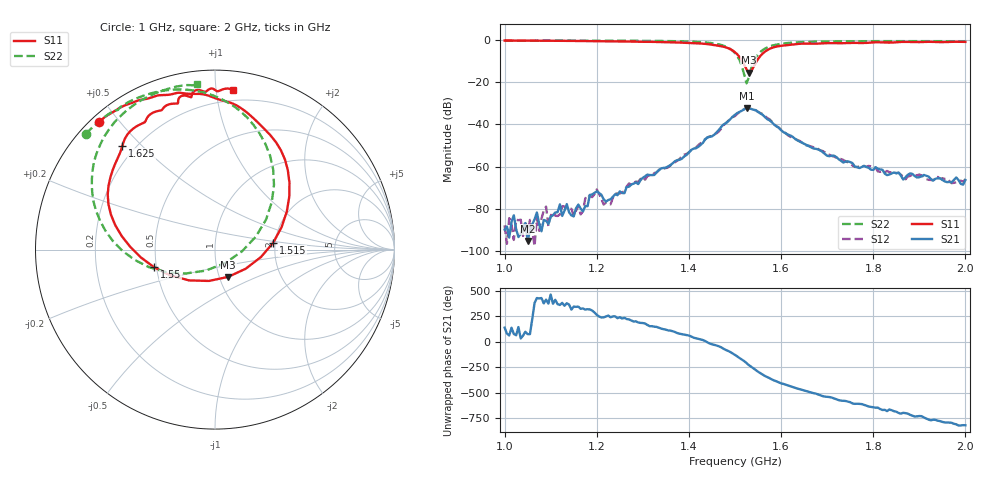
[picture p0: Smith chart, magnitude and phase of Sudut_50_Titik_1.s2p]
# Hz S RI R 50
! CMT, C1220, 16058040, 17.2.0/1
! Date: 14/08/2018 12:54:14
! Data: Format (Calibration Info)
! Freq  S11: Re/Im (F2)  S21: Re/Im (F2)  S12: Re/Im (F2)  S22: Re/Im (F2)
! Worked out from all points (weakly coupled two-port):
!   201 points, 1 GHz to 2 GHz, reference 50 ohm
!   highest |S21| = -32.21 dB at 1.525 GHz (marker M1); lowest = -95.1 dB at 1.05 GHz (marker M2)
!   lowest |S11| = -15.5 dB at 1.53 GHz (marker M3), VSWR 1.41, Z = 55.1 - j17.2 ohm
!   |S11| at or under -10 dB: 1.516 GHz to 1.547 GHz (31.74 MHz wide, 2.07 % of centre)
!   |S22| runs from -20.6 to -0.3 dB; largest |S21 - S12| = 0.0011
!   S11 on the Smith chart (normalised r, x): 1 GHz: 0.02, +0.44; 1.515 GHz: 1.95, +0.16; 1.55 GHz: 0.49, -0.11; 1.625 GHz: 0.15, +0.44; 2 GHz: 0.13, +1.11
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1e9  -0.6451 0.7128  -2.51e-05 2.09e-05  -4.12e-05 -3.27e-06  -0.7193 0.6452
1.05e9  -0.5955 0.7502  4.12e-06 1.71e-05  7.92e-07 2.9e-05  -0.6828 0.6809
1.17e9  -0.4516 0.8216  7.52e-05 -4.61e-05  8.42e-05 -2.57e-05  -0.5772 0.765
1.18e9  -0.4369 0.8279  9.11e-05 -7.37e-05  0.000163 -0.000145  -0.5659 0.7708
1.185e9  -0.429 0.8308  0.000162 -0.000142  0.000111 -0.000167  -0.5601 0.7737
1.2e9  -0.4065 0.8355  -1.86e-05 -0.000261  1.86e-05 -0.00029  -0.5435 0.7771
1.215e9  -0.3849 0.8392  -8.25e-05 -0.000148  -3.85e-05 -0.000122  -0.5355 0.7853
1.23e9  -0.3592 0.8461  -8.12e-05 -0.00015  -8.44e-05 -9.78e-05  -0.5201 0.7996
1.27e9  -0.2946 0.8604  -0.000254 -0.00022  -0.000317 -0.000249  -0.4678 0.829
1.335e9  -0.1697 0.8702  -0.000625 0.000536  -0.000618 0.000589  -0.3605 0.8695
1.45e9  0.2082 0.7374  0.0048 -0.00206  0.00479 -0.00236  0.0465 0.8331
1.5e9  0.414 0.2966  -0.0104 -0.0134  -0.00972 -0.0125  0.3287 0.3598
1.515e9  0.3233 0.0371  -0.021 -0.00257  -0.0211 -0.00319  0.2275 0.072
1.525e9  0.1713 -0.1064  -0.0218 0.0113  -0.0221 0.0112  0.0567 -0.0748
1.53e9  0.073 -0.1521  -0.0162 0.0175  -0.0164 0.0176  -0.0517 -0.1172
1.55e9  -0.3386 -0.099  0.00758 0.0183  0.00689 0.0186  -0.4493 -0.0564
1.58e9  -0.5935 0.2514  0.0112 -0.00163  0.0115 -0.00212  -0.6761 0.2647
1.625e9  -0.5161 0.5779  0.000577 -0.00508  0.000636 -0.00479  -0.6498 0.5611
1.67e9  -0.3982 0.7057  -0.00215 -0.00166  -0.00225 -0.0018  -0.5671 0.7004
1.76e9  -0.2398 0.8126  -0.000383 0.000938  -0.000437 0.000886  -0.421 0.8252
1.835e9  -0.1332 0.8487  0.000358 0.000549  0.000558 0.000496  -0.3157 0.8773
2e9  0.1001 0.8881  -6.67e-05 -0.000482  -6.63e-05 -0.000503  -0.0983 0.9221
